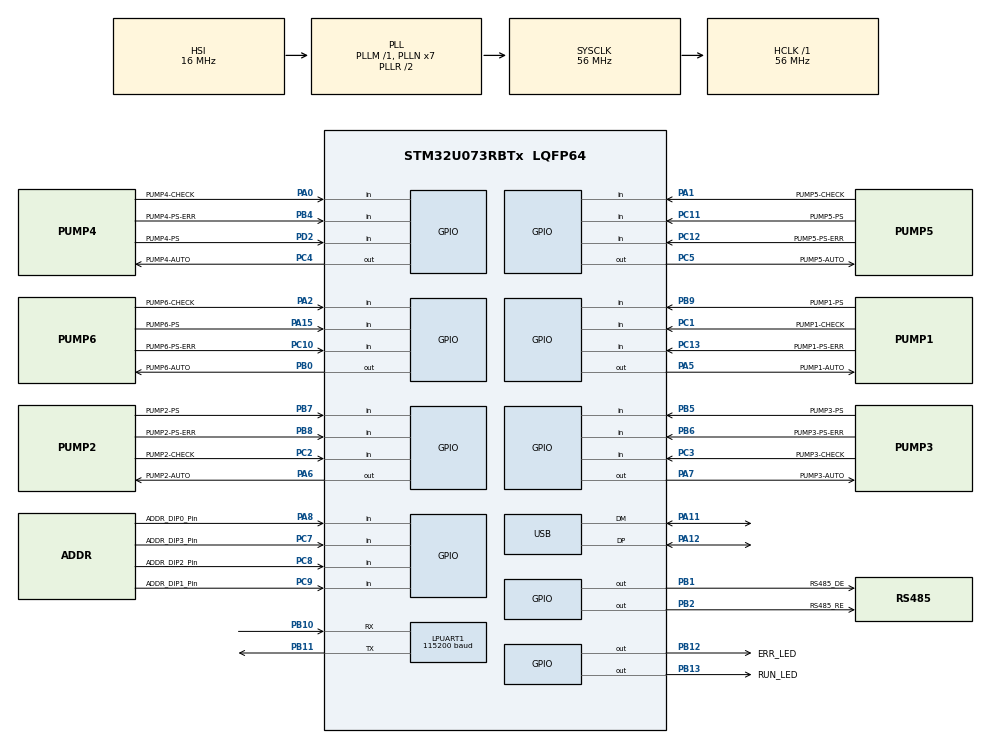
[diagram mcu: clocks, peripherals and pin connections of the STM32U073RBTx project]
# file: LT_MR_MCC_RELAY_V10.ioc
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Dma.LPUART1_TX.0.Direction=DMA_MEMORY_TO_PERIPH
Dma.LPUART1_TX.0.EventEnable=DISABLE
Dma.LPUART1_TX.0.Instance=DMA1_Channel2
Dma.LPUART1_TX.0.MemDataAlignment=DMA_MDATAALIGN_BYTE
Dma.LPUART1_TX.0.MemInc=DMA_MINC_ENABLE
Dma.LPUART1_TX.0.Mode=DMA_NORMAL
Dma.LPUART1_TX.0.PeriphDataAlignment=DMA_PDATAALIGN_BYTE
Dma.LPUART1_TX.0.PeriphInc=DMA_PINC_DISABLE
Dma.LPUART1_TX.0.Polarity=HAL_DMAMUX_REQ_GEN_RISING
Dma.LPUART1_TX.0.Priority=DMA_PRIORITY_LOW
Dma.LPUART1_TX.0.RequestNumber=1
Dma.LPUART1_TX.0.SignalID=NONE
Dma.LPUART1_TX.0.SyncEnable=DISABLE
Dma.LPUART1_TX.0.SyncPolarity=HAL_DMAMUX_SYNC_NO_EVENT
Dma.LPUART1_TX.0.SyncRequestNumber=1
Dma.LPUART1_TX.0.SyncSignalID=NONE
Dma.Request0=LPUART1_TX
IWDG.Prescaler=IWDG_PRESCALER_16
LPUART1.BaudRate=115200
Mcu.Family=STM32U0
Mcu.Name=STM32U073RBTx
Mcu.Package=LQFP64
NVIC.DMA1_Channel2_3_IRQn=true\:0\:0\:false\:false\:true\:false\:true\:true
NVIC.PriorityGroup=NVIC_PRIORITYGROUP_2
NVIC.TIM1_CC_IRQn=true\:0\:0\:false\:false\:true\:true\:true\:true
NVIC.TIM2_IRQn=true\:0\:0\:false\:false\:true\:true\:true\:true
NVIC.TIM3_IRQn=true\:0\:0\:false\:false\:true\:true\:true\:true
NVIC.USART3_LPUART1_IRQn=true\:0\:0\:false\:false\:true\:true\:true\:true
PA0.GPIO_Label=PUMP4-CHECK
PA0.Signal=GPIO_Input
PA1.GPIO_Label=PUMP5-CHECK
PA1.Signal=GPIO_Input
PA11\ [PA9].Mode=Device
PA11\ [PA9].Signal=USB_DM
PA12\ [PA10].Mode=Device
PA12\ [PA10].Signal=USB_DP
PA13\ (SWDIO).Mode=Serial_Wire
PA13\ (SWDIO).Signal=DEBUG_JTMS-SWDIO
PA14\ (SWCLK).Mode=Serial_Wire
PA14\ (SWCLK).Signal=DEBUG_JTCK-SWCLK
PA15.GPIO_Label=PUMP6-PS
PA15.GPIO_PuPd=GPIO_PULLUP
PA15.Signal=GPIO_Input
PA2.GPIO_Label=PUMP6-CHECK
PA2.Signal=GPIO_Input
PA5.GPIO_Label=PUMP1-AUTO
PA5.Signal=GPIO_Output
PA6.GPIO_Label=PUMP2-AUTO
PA6.Signal=GPIO_Output
PA7.GPIO_Label=PUMP3-AUTO
PA7.Signal=GPIO_Output
PA8.GPIO_Label=ADDR_DIP0_Pin
PA8.Signal=GPIO_Input
PB0.GPIO_Label=PUMP6-AUTO
PB0.Signal=GPIO_Output
PB1.GPIO_Label=RS485_DE
PB1.Signal=GPIO_Output
PB10.Mode=Asynchronous
PB10.Signal=LPUART1_RX
PB11.Mode=Asynchronous
PB11.Signal=LPUART1_TX
PB12.GPIO_Label=ERR_LED
PB12.Signal=GPIO_Output
PB13.GPIO_Label=RUN_LED
PB13.Signal=GPIO_Output
PB2.GPIO_Label=RS485_RE
PB2.Signal=GPIO_Output
PB3.Signal=DEBUG_JTDO-SWO
PB4.GPIO_Label=PUMP4-PS-ERR
PB4.GPIO_PuPd=GPIO_PULLUP
PB4.Signal=GPIO_Input
PB5.GPIO_Label=PUMP3-PS
PB5.GPIO_PuPd=GPIO_PULLUP
PB5.Signal=GPIO_Input
PB6.GPIO_Label=PUMP3-PS-ERR
PB6.GPIO_PuPd=GPIO_PULLUP
PB6.Signal=GPIO_Input
PB7.GPIO_Label=PUMP2-PS
PB7.GPIO_PuPd=GPIO_PULLUP
PB7.Signal=GPIO_Input
PB8.GPIO_Label=PUMP2-PS-ERR
PB8.GPIO_PuPd=GPIO_PULLUP
PB8.Signal=GPIO_Input
PB9.GPIO_Label=PUMP1-PS
PB9.GPIO_PuPd=GPIO_PULLUP
PB9.Signal=GPIO_Input
PC1.GPIO_Label=PUMP1-CHECK
PC1.Signal=GPIO_Input
PC10.GPIO_Label=PUMP6-PS-ERR
PC10.GPIO_PuPd=GPIO_PULLUP
PC10.Signal=GPIO_Input
PC11.GPIO_Label=PUMP5-PS
PC11.GPIO_PuPd=GPIO_PULLUP
PC11.Signal=GPIO_Input
PC12.GPIO_Label=PUMP5-PS-ERR
PC12.GPIO_PuPd=GPIO_PULLUP
PC12.Signal=GPIO_Input
PC13.GPIO_Label=PUMP1-PS-ERR
PC13.GPIO_PuPd=GPIO_PULLUP
PC13.Signal=GPIO_Input
PC2.GPIO_Label=PUMP2-CHECK
PC2.Signal=GPIO_Input
PC3.GPIO_Label=PUMP3-CHECK
PC3.Signal=GPIO_Input
PC4.GPIO_Label=PUMP4-AUTO
PC4.Signal=GPIO_Output
PC5.GPIO_Label=PUMP5-AUTO
PC5.Signal=GPIO_Output
PC7.GPIO_Label=ADDR_DIP3_Pin
PC7.Signal=GPIO_Input
PC8.GPIO_Label=ADDR_DIP2_Pin
PC8.Signal=GPIO_Input
PC9.GPIO_Label=ADDR_DIP1_Pin
PC9.Signal=GPIO_Input
PD2.GPIO_Label=PUMP4-PS
PD2.GPIO_PuPd=GPIO_PULLUP
PD2.Signal=GPIO_Input
ProjectManager.HeapSize=0x200
ProjectManager.StackSize=0x400
ProjectManager.TargetToolchain=STM32CubeIDE
RCC.ADCFreq_Value=56000000
RCC.AHBFreq_Value=56000000
RCC.CortexFreq_Value=56000000
RCC.HCLKFreq_Value=56000000
RCC.HSE_VALUE=4000000
RCC.HSI48_VALUE=48000000
RCC.HSI_VALUE=16000000
RCC.LSE_VALUE=32768
RCC.MSI_VALUE=4000000
RCC.PLLN=7
RCC.SYSCLKFreq_VALUE=56000000
RCC.SYSCLKSource=RCC_SYSCLKSOURCE_PLLCLK
RCC.USBCLockSelection=RCC_USBCLKSOURCE_HSI48
RCC.USBFreq_Value=48000000
RCC.VCOOutputFreq_Value=112000000
TIM1.Channel-Output\ Compare1\ No\ Output=TIM_CHANNEL_1
TIM1.Period=9999
TIM1.Prescaler=5599
TIM2.Channel-Output\ Compare1\ No\ Output=TIM_CHANNEL_1
TIM2.Period=999
TIM2.Prescaler=5599
TIM3.Channel-Output\ Compare1\ No\ Output=TIM_CHANNEL_1
TIM3.Period=999
TIM3.Prescaler=5599
USB.VirtualMode=Device_Only
VP_IWDG_VS_IWDG.Mode=IWDG_Activate
VP_PWR_VS_SECSignals.Mode=Security/Privilege
VP_TIM1_VS_ClockSourceINT.Mode=Internal
VP_TIM1_VS_no_output1.Mode=Output Compare1 No Output
VP_TIM2_VS_ClockSourceINT.Mode=Internal
VP_TIM2_VS_no_output1.Mode=Output Compare1 No Output
VP_TIM3_VS_ClockSourceINT.Mode=Internal
VP_TIM3_VS_no_output1.Mode=Output Compare1 No Output
board=custom

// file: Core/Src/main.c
/* USER CODE BEGIN Header */
/**
  ******************************************************************************
  * @file           : main.c
  * @brief          : Main program body
  ******************************************************************************
  * @attention
  *
  * Copyright (c) 2025 STMicroelectronics.
  * All rights reserved.
  *
  * This software is licensed under terms that can be found in the LICENSE file
  * in the root directory of this software component.
  * If no LICENSE file comes with this software, it is provided AS-IS.
  *
  ******************************************************************************
  */
/* USER CODE END Header */
#include "main.h"

/* USER CODE BEGIN Includes */
#include "Compile_Data.h"
/* USER CODE END Includes */

IWDG_HandleTypeDef hiwdg;

UART_HandleTypeDef hlpuart1;
DMA_HandleTypeDef hdma_lpuart1_tx;

TIM_HandleTypeDef htim1;
TIM_HandleTypeDef htim2;
TIM_HandleTypeDef htim3;

PCD_HandleTypeDef hpcd_USB_DRD_FS;

/* USER CODE BEGIN PV */

uint8_t MCC_Address_tmp[4] ;
uint8_t MCC_R_Address ;

uint8_t SUB_UART_TX_buf[SUB_UART_buf_len] ;
uint8_t SUB_UART_RX_buf[SUB_UART_buf_len];
uint8_t SUB_UART_Tx_buf_tmp[SUB_UART_buf_len];
uint8_t SUB_UART_RX_buf_tmp[SUB_UART_buf_len];
uint8_t SUB_UART_State ;					// Define reception start state
int SUB_UART_buf_count;					// Save the length of received data after starting reception
int SUB_UART_buf_count_tmp;				// Variable to store the length of the received data before initializing it when reception is completed
uint8_t SUB_UART_Receive_complete;		// Variable indicating that reception has been completed
int SUB_UART_buf_count_Save;

uint8_t RY_Status_Avr[8][RY_Status_Avr_Num];
uint8_t RY_Status_Avr_Val[8];

uint8_t RY_Status[8] ;
uint8_t Pump_ps_Status[8] ;
uint8_t Pump_ck_Status[8] ;
uint8_t Pump_err_Status[8] ;

#define Save_Num	10

uint8_t Pump_ps_Load_Num;
uint8_t Pump_ck_Load_Num;
uint8_t Pump_err_Load_Num;

uint8_t Pump_ps_Status_tmp[8][Save_Num] ;
uint8_t Pump_ck_Status_tmp[8][Save_Num];
uint8_t Pump_err_Status_tmp[8][Save_Num] ;

#define Version_SW		0
#define Version_MCC		1
#define Version_MCC_R	2
#define Version_TB		3
#define Version_DO		4
#define Version_EBC		5
uint8_t Version_Info[6][14];

/* USER CODE END PV */

void SystemClock_Config(void);
static void MX_GPIO_Init(void);
static void MX_DMA_Init(void);
static void MX_TIM2_Init(void);
static void MX_TIM3_Init(void);
static void MX_LPUART1_UART_Init(void);
static void MX_USB_PCD_Init(void);
static void MX_TIM1_Init(void);
static void MX_IWDG_Init(void);

/* USER CODE BEGIN 0 */

///////////////Start timer interrupt operation function///////////////////

void HAL_TIM_OC_DelayElapsedCallback(TIM_HandleTypeDef *htim)
{
  if(htim->Instance == TIM1)
  {
    HAL_GPIO_TogglePin(RUN_LED_GPIO_Port, RUN_LED_Pin);

    HAL_IWDG_Refresh(&hiwdg);

  }
  else if(htim->Instance == TIM2)
    {

    }
  else if(htim->Instance == TIM3)
  {

  }

}
////////////////Timer interrupt operation function ends ///////////////////
/* USER CODE END 0 */

int main(void)
{

  /* MCU Configuration--------------------------------------------------------*/

  /* Reset of all peripherals, Initializes the Flash interface and the Systick. */
  HAL_Init();

  /* Configure the system clock */
  SystemClock_Config();

  /* Initialize all configured peripherals */
  MX_GPIO_Init();
  MX_DMA_Init();
  MX_TIM2_Init();
  MX_TIM3_Init();
  MX_LPUART1_UART_Init();
  MX_USB_PCD_Init();
  MX_TIM1_Init();
  MX_IWDG_Init();
  /* USER CODE BEGIN 2 */

  // Timer1: 1 second cycle
  // Timer15: 0.1 second cycle
  // Timer16: 0.1 second cycle
  HAL_TIM_OC_Start_IT(&htim1,TIM_CHANNEL_1);
  HAL_TIM_OC_Start_IT(&htim2,TIM_CHANNEL_1);
  HAL_TIM_OC_Start_IT(&htim3,TIM_CHANNEL_1);

  LED_Control(ERR_LED_GPIO_Port, ERR_LED_Pin , LED_Off);

  Compile_Date();

  Read_Address();

  MCC_R_Address = 1;
  /* huart1 RX Interrupt  Enable */
  /* Process Unlocked */
  __HAL_UNLOCK(&hlpuart1);
  /* Enable the UART Parity Error Interrupt */
  __HAL_UART_ENABLE_IT(&hlpuart1, UART_IT_PE);
  /* Enable the UART Error Interrupt: (Frame error, noise error, overrun error) */
  __HAL_UART_ENABLE_IT(&hlpuart1, UART_IT_ERR);
  /* Enable the UART Data Register not empty Interrupt */
  __HAL_UART_ENABLE_IT(&hlpuart1, UART_IT_RXNE);

  /*
  PUMP1_ON();
  HAL_Delay(200);
  PUMP2_ON();
  HAL_Delay(200);
  PUMP3_ON();
  HAL_Delay(200);
  PUMP4_ON();
  HAL_Delay(200);
  PUMP5_ON();
  HAL_Delay(200);
  PUMP6_ON();
  HAL_Delay(200);

  HAL_Delay(1000);
  PUMP1_OFF();
  HAL_Delay(200);
  PUMP2_OFF();
  HAL_Delay(200);
  PUMP3_OFF();
  HAL_Delay(200);
  PUMP4_OFF();
  HAL_Delay(200);
  PUMP5_OFF();
  HAL_Delay(200);
  PUMP6_OFF();
  HAL_Delay(200);
*/

	for(int i=0;i<8;i++){
		RY_Status[i] = 0;
		Pump_ps_Status[i] = 0;
		Pump_ck_Status[i] = 0;
		Pump_err_Status[i] = 0;
	}
  /* USER CODE END 2 */

  /* Infinite loop */
  while (1)
  {

    /* USER CODE BEGIN 3 */

	/* Enable the UART Error Interrupt: (Frame error, noise error, overrun error) */
	__HAL_UART_ENABLE_IT(&hlpuart1, UART_IT_ERR);
	/* Enable the UART Data Register not empty Interrupt */
	__HAL_UART_ENABLE_IT(&hlpuart1, UART_IT_RXNE);

	Set_Relay_Avr();
	Read_Pump_Ps();
	Read_Pump_Ck();
	Read_Pump_Err();

	if(SUB_UART_Receive_complete == 1){
	  SW_Com();
	}
	HAL_Delay(1);

  }
  /* USER CODE END 3 */
}

void SystemClock_Config(void)
{
  RCC_OscInitTypeDef RCC_OscInitStruct = {0};
  RCC_ClkInitTypeDef RCC_ClkInitStruct = {0};

  /** Configure the main internal regulator output voltage
  */
  HAL_PWREx_ControlVoltageScaling(PWR_REGULATOR_VOLTAGE_SCALE1);

  /** Initializes the RCC Oscillators according to the specified parameters
  * in the RCC_OscInitTypeDef structure.
  */
  RCC_OscInitStruct.OscillatorType = RCC_OSCILLATORTYPE_HSI|RCC_OSCILLATORTYPE_HSI48;
  RCC_OscInitStruct.HSIState = RCC_HSI_ON;
  RCC_OscInitStruct.HSICalibrationValue = RCC_HSICALIBRATION_DEFAULT;
  RCC_OscInitStruct.HSI48State = RCC_HSI48_ON;
  RCC_OscInitStruct.PLL.PLLState = RCC_PLL_ON;
  RCC_OscInitStruct.PLL.PLLSource = RCC_PLLSOURCE_HSI;
  RCC_OscInitStruct.PLL.PLLM = RCC_PLLM_DIV1;
  RCC_OscInitStruct.PLL.PLLN = 7;
  RCC_OscInitStruct.PLL.PLLP = RCC_PLLP_DIV2;
  RCC_OscInitStruct.PLL.PLLQ = RCC_PLLQ_DIV2;
  RCC_OscInitStruct.PLL.PLLR = RCC_PLLR_DIV2;
  if (HAL_RCC_OscConfig(&RCC_OscInitStruct) != HAL_OK)
  {
    Error_Handler();
  }

  /** Initializes the CPU, AHB and APB buses clocks
  */
  RCC_ClkInitStruct.ClockType = RCC_CLOCKTYPE_HCLK|RCC_CLOCKTYPE_SYSCLK
                              |RCC_CLOCKTYPE_PCLK1;
  RCC_ClkInitStruct.SYSCLKSource = RCC_SYSCLKSOURCE_PLLCLK;
  RCC_ClkInitStruct.AHBCLKDivider = RCC_SYSCLK_DIV1;
  RCC_ClkInitStruct.APB1CLKDivider = RCC_HCLK_DIV1;

  if (HAL_RCC_ClockConfig(&RCC_ClkInitStruct, FLASH_LATENCY_2) != HAL_OK)
  {
    Error_Handler();
  }
}

static void MX_IWDG_Init(void)
{

  hiwdg.Instance = IWDG;
  hiwdg.Init.Prescaler = IWDG_PRESCALER_16;
  hiwdg.Init.Window = 4095;
  hiwdg.Init.Reload = 4095;
  hiwdg.Init.EWI = 0;
  if (HAL_IWDG_Init(&hiwdg) != HAL_OK)
  {
    Error_Handler();
  }

}

static void MX_LPUART1_UART_Init(void)
{

  hlpuart1.Instance = LPUART1;
  hlpuart1.Init.BaudRate = 115200;
  hlpuart1.Init.WordLength = UART_WORDLENGTH_8B;
  hlpuart1.Init.StopBits = UART_STOPBITS_1;
  hlpuart1.Init.Parity = UART_PARITY_NONE;
  hlpuart1.Init.Mode = UART_MODE_TX_RX;
  hlpuart1.Init.HwFlowCtl = UART_HWCONTROL_NONE;
  hlpuart1.Init.OneBitSampling = UART_ONE_BIT_SAMPLE_DISABLE;
  hlpuart1.AdvancedInit.AdvFeatureInit = UART_ADVFEATURE_NO_INIT;
  hlpuart1.FifoMode = UART_FIFOMODE_DISABLE;
  if (HAL_UART_Init(&hlpuart1) != HAL_OK)
  {
    Error_Handler();
  }
  if (HAL_UARTEx_SetTxFifoThreshold(&hlpuart1, UART_TXFIFO_THRESHOLD_1_8) != HAL_OK)
  {
    Error_Handler();
  }
  if (HAL_UARTEx_SetRxFifoThreshold(&hlpuart1, UART_RXFIFO_THRESHOLD_1_8) != HAL_OK)
  {
    Error_Handler();
  }
  if (HAL_UARTEx_DisableFifoMode(&hlpuart1) != HAL_OK)
  {
    Error_Handler();
  }

}

static void MX_TIM1_Init(void)
{

  TIM_ClockConfigTypeDef sClockSourceConfig = {0};
  TIM_MasterConfigTypeDef sMasterConfig = {0};
  TIM_OC_InitTypeDef sConfigOC = {0};
  TIM_BreakDeadTimeConfigTypeDef sBreakDeadTimeConfig = {0};

  htim1.Instance = TIM1;
  htim1.Init.Prescaler = 5599;
  htim1.Init.CounterMode = TIM_COUNTERMODE_UP;
  htim1.Init.Period = 9999;
  htim1.Init.ClockDivision = TIM_CLOCKDIVISION_DIV1;
  htim1.Init.RepetitionCounter = 0;
  htim1.Init.AutoReloadPreload = TIM_AUTORELOAD_PRELOAD_DISABLE;
  if (HAL_TIM_Base_Init(&htim1) != HAL_OK)
  {
    Error_Handler();
  }
  sClockSourceConfig.ClockSource = TIM_CLOCKSOURCE_INTERNAL;
  if (HAL_TIM_ConfigClockSource(&htim1, &sClockSourceConfig) != HAL_OK)
  {
    Error_Handler();
  }
  if (HAL_TIM_OC_Init(&htim1) != HAL_OK)
  {
    Error_Handler();
  }
  sMasterConfig.MasterOutputTrigger = TIM_TRGO_RESET;
  sMasterConfig.MasterOutputTrigger2 = TIM_TRGO2_RESET;
  sMasterConfig.MasterSlaveMode = TIM_MASTERSLAVEMODE_DISABLE;
  if (HAL_TIMEx_MasterConfigSynchronization(&htim1, &sMasterConfig) != HAL_OK)
  {
    Error_Handler();
  }
  sConfigOC.OCMode = TIM_OCMODE_TIMING;
  sConfigOC.Pulse = 0;
  sConfigOC.OCPolarity = TIM_OCPOLARITY_HIGH;
  sConfigOC.OCNPolarity = TIM_OCNPOLARITY_HIGH;
  sConfigOC.OCFastMode = TIM_OCFAST_DISABLE;
  sConfigOC.OCIdleState = TIM_OCIDLESTATE_RESET;
  sConfigOC.OCNIdleState = TIM_OCNIDLESTATE_RESET;
  if (HAL_TIM_OC_ConfigChannel(&htim1, &sConfigOC, TIM_CHANNEL_1) != HAL_OK)
  {
    Error_Handler();
  }
  sBreakDeadTimeConfig.OffStateRunMode = TIM_OSSR_DISABLE;
  sBreakDeadTimeConfig.OffStateIDLEMode = TIM_OSSI_DISABLE;
  sBreakDeadTimeConfig.LockLevel = TIM_LOCKLEVEL_OFF;
  sBreakDeadTimeConfig.DeadTime = 0;
  sBreakDeadTimeConfig.BreakState = TIM_BREAK_DISABLE;
  sBreakDeadTimeConfig.BreakPolarity = TIM_BREAKPOLARITY_HIGH;
  sBreakDeadTimeConfig.BreakFilter = 0;
  sBreakDeadTimeConfig.BreakAFMode = TIM_BREAK_AFMODE_INPUT;
  sBreakDeadTimeConfig.Break2State = TIM_BREAK2_DISABLE;
  sBreakDeadTimeConfig.Break2Polarity = TIM_BREAK2POLARITY_HIGH;
  sBreakDeadTimeConfig.Break2Filter = 0;
  sBreakDeadTimeConfig.Break2AFMode = TIM_BREAK_AFMODE_INPUT;
  sBreakDeadTimeConfig.AutomaticOutput = TIM_AUTOMATICOUTPUT_DISABLE;
  if (HAL_TIMEx_ConfigBreakDeadTime(&htim1, &sBreakDeadTimeConfig) != HAL_OK)
  {
    Error_Handler();
  }

}

static void MX_TIM2_Init(void)
{

  TIM_ClockConfigTypeDef sClockSourceConfig = {0};
  TIM_MasterConfigTypeDef sMasterConfig = {0};
  TIM_OC_InitTypeDef sConfigOC = {0};

  htim2.Instance = TIM2;
  htim2.Init.Prescaler = 5599;
  htim2.Init.CounterMode = TIM_COUNTERMODE_UP;
  htim2.Init.Period = 999;
  htim2.Init.ClockDivision = TIM_CLOCKDIVISION_DIV1;
  htim2.Init.AutoReloadPreload = TIM_AUTORELOAD_PRELOAD_DISABLE;
  if (HAL_TIM_Base_Init(&htim2) != HAL_OK)
  {
    Error_Handler();
  }
  sClockSourceConfig.ClockSource = TIM_CLOCKSOURCE_INTERNAL;
  if (HAL_TIM_ConfigClockSource(&htim2, &sClockSourceConfig) != HAL_OK)
  {
    Error_Handler();
  }
  if (HAL_TIM_OC_Init(&htim2) != HAL_OK)
  {
    Error_Handler();
  }
  sMasterConfig.MasterOutputTrigger = TIM_TRGO_RESET;
  sMasterConfig.MasterSlaveMode = TIM_MASTERSLAVEMODE_DISABLE;
  if (HAL_TIMEx_MasterConfigSynchronization(&htim2, &sMasterConfig) != HAL_OK)
  {
    Error_Handler();
  }
  sConfigOC.OCMode = TIM_OCMODE_TIMING;
  sConfigOC.Pulse = 0;
  sConfigOC.OCPolarity = TIM_OCPOLARITY_HIGH;
  sConfigOC.OCFastMode = TIM_OCFAST_DISABLE;
  if (HAL_TIM_OC_ConfigChannel(&htim2, &sConfigOC, TIM_CHANNEL_1) != HAL_OK)
  {
    Error_Handler();
  }

}

static void MX_TIM3_Init(void)
{

  TIM_ClockConfigTypeDef sClockSourceConfig = {0};
  TIM_MasterConfigTypeDef sMasterConfig = {0};
  TIM_OC_InitTypeDef sConfigOC = {0};

  htim3.Instance = TIM3;
  htim3.Init.Prescaler = 5599;
  htim3.Init.CounterMode = TIM_COUNTERMODE_UP;
  htim3.Init.Period = 999;
  htim3.Init.ClockDivision = TIM_CLOCKDIVISION_DIV1;
  htim3.Init.AutoReloadPreload = TIM_AUTORELOAD_PRELOAD_DISABLE;
  if (HAL_TIM_Base_Init(&htim3) != HAL_OK)
  {
    Error_Handler();
  }
  sClockSourceConfig.ClockSource = TIM_CLOCKSOURCE_INTERNAL;
  if (HAL_TIM_ConfigClockSource(&htim3, &sClockSourceConfig) != HAL_OK)
  {
    Error_Handler();
  }
  if (HAL_TIM_OC_Init(&htim3) != HAL_OK)
  {
    Error_Handler();
  }
  sMasterConfig.MasterOutputTrigger = TIM_TRGO_RESET;
  sMasterConfig.MasterSlaveMode = TIM_MASTERSLAVEMODE_DISABLE;
  if (HAL_TIMEx_MasterConfigSynchronization(&htim3, &sMasterConfig) != HAL_OK)
  {
    Error_Handler();
  }
  sConfigOC.OCMode = TIM_OCMODE_TIMING;
  sConfigOC.Pulse = 0;
  sConfigOC.OCPolarity = TIM_OCPOLARITY_HIGH;
  sConfigOC.OCFastMode = TIM_OCFAST_DISABLE;
  if (HAL_TIM_OC_ConfigChannel(&htim3, &sConfigOC, TIM_CHANNEL_1) != HAL_OK)
  {
    Error_Handler();
  }

}

static void MX_USB_PCD_Init(void)
{

  hpcd_USB_DRD_FS.Instance = USB_DRD_FS;
  hpcd_USB_DRD_FS.Init.dev_endpoints = 8;
  hpcd_USB_DRD_FS.Init.speed = USBD_FS_SPEED;
  hpcd_USB_DRD_FS.Init.phy_itface = PCD_PHY_EMBEDDED;
  hpcd_USB_DRD_FS.Init.Sof_enable = DISABLE;
  hpcd_USB_DRD_FS.Init.low_power_enable = DISABLE;
  hpcd_USB_DRD_FS.Init.lpm_enable = DISABLE;
  hpcd_USB_DRD_FS.Init.battery_charging_enable = DISABLE;
  if (HAL_PCD_Init(&hpcd_USB_DRD_FS) != HAL_OK)
  {
    Error_Handler();
  }

}

static void MX_DMA_Init(void)
{

  /* DMA controller clock enable */
  __HAL_RCC_DMA1_CLK_ENABLE();

  /* DMA interrupt init */
  /* DMA1_Channel2_3_IRQn interrupt configuration */
  HAL_NVIC_SetPriority(DMA1_Channel2_3_IRQn, 0, 0);
  HAL_NVIC_EnableIRQ(DMA1_Channel2_3_IRQn);

}

static void MX_GPIO_Init(void)
{
  GPIO_InitTypeDef GPIO_InitStruct = {0};

  /* GPIO Ports Clock Enable */
  __HAL_RCC_GPIOC_CLK_ENABLE();
  __HAL_RCC_GPIOA_CLK_ENABLE();
  __HAL_RCC_GPIOB_CLK_ENABLE();
  __HAL_RCC_GPIOD_CLK_ENABLE();

  /*Configure GPIO pin Output Level */
  HAL_GPIO_WritePin(GPIOA, PUMP1_AUTO_Pin|PUMP2_AUTO_Pin|PUMP3_AUTO_Pin, GPIO_PIN_RESET);

  /*Configure GPIO pin Output Level */
  HAL_GPIO_WritePin(GPIOC, PUMP4_AUTO_Pin|PUMP5_AUTO_Pin, GPIO_PIN_RESET);

  /*Configure GPIO pin Output Level */
  HAL_GPIO_WritePin(GPIOB, PUMP6_AUTO_Pin|RS485_DE_Pin|RS485_RE_Pin|ERR_LED_Pin
                          |RUN_LED_Pin, GPIO_PIN_RESET);

  /*Configure GPIO pins : PUMP1_PS_ERR_Pin PUMP6_PS_ERR_Pin PUMP5_PS_Pin PUMP5_PS_ERR_Pin */
  GPIO_InitStruct.Pin = PUMP1_PS_ERR_Pin|PUMP6_PS_ERR_Pin|PUMP5_PS_Pin|PUMP5_PS_ERR_Pin;
  GPIO_InitStruct.Mode = GPIO_MODE_INPUT;
  GPIO_InitStruct.Pull = GPIO_PULLUP;
  HAL_GPIO_Init(GPIOC, &GPIO_InitStruct);

  /*Configure GPIO pins : PUMP1_CHECK_Pin PUMP2_CHECK_Pin PUMP3_CHECK_Pin ADDR_DIP3_Pin_Pin
                           ADDR_DIP2_Pin_Pin ADDR_DIP1_Pin_Pin */
  GPIO_InitStruct.Pin = PUMP1_CHECK_Pin|PUMP2_CHECK_Pin|PUMP3_CHECK_Pin|ADDR_DIP3_Pin_Pin
                          |ADDR_DIP2_Pin_Pin|ADDR_DIP1_Pin_Pin;
  GPIO_InitStruct.Mode = GPIO_MODE_INPUT;
  GPIO_InitStruct.Pull = GPIO_NOPULL;
  HAL_GPIO_Init(GPIOC, &GPIO_InitStruct);

  /*Configure GPIO pins : PUMP4_CHECK_Pin PUMP5_CHECK_Pin PUMP6_CHECK_Pin ADDR_DIP0_Pin_Pin */
  GPIO_InitStruct.Pin = PUMP4_CHECK_Pin|PUMP5_CHECK_Pin|PUMP6_CHECK_Pin|ADDR_DIP0_Pin_Pin;
  GPIO_InitStruct.Mode = GPIO_MODE_INPUT;
  GPIO_InitStruct.Pull = GPIO_NOPULL;
  HAL_GPIO_Init(GPIOA, &GPIO_InitStruct);

  /*Configure GPIO pins : PUMP1_AUTO_Pin PUMP2_AUTO_Pin PUMP3_AUTO_Pin */
  GPIO_InitStruct.Pin = PUMP1_AUTO_Pin|PUMP2_AUTO_Pin|PUMP3_AUTO_Pin;
  GPIO_InitStruct.Mode = GPIO_MODE_OUTPUT_PP;
  GPIO_InitStruct.Pull = GPIO_NOPULL;
  GPIO_InitStruct.Speed = GPIO_SPEED_FREQ_LOW;
  HAL_GPIO_Init(GPIOA, &GPIO_InitStruct);

  /*Configure GPIO pins : PUMP4_AUTO_Pin PUMP5_AUTO_Pin */
  GPIO_InitStruct.Pin = PUMP4_AUTO_Pin|PUMP5_AUTO_Pin;
  GPIO_InitStruct.Mode = GPIO_MODE_OUTPUT_PP;
  GPIO_InitStruct.Pull = GPIO_NOPULL;
  GPIO_InitStruct.Speed = GPIO_SPEED_FREQ_LOW;
  HAL_GPIO_Init(GPIOC, &GPIO_InitStruct);

  /*Configure GPIO pins : PUMP6_AUTO_Pin RS485_DE_Pin RS485_RE_Pin ERR_LED_Pin
                           RUN_LED_Pin */
  GPIO_InitStruct.Pin = PUMP6_AUTO_Pin|RS485_DE_Pin|RS485_RE_Pin|ERR_LED_Pin
                          |RUN_LED_Pin;
  GPIO_InitStruct.Mode = GPIO_MODE_OUTPUT_PP;
  GPIO_InitStruct.Pull = GPIO_NOPULL;
  GPIO_InitStruct.Speed = GPIO_SPEED_FREQ_LOW;
  HAL_GPIO_Init(GPIOB, &GPIO_InitStruct);

  /*Configure GPIO pin : PUMP6_PS_Pin */
  GPIO_InitStruct.Pin = PUMP6_PS_Pin;
  GPIO_InitStruct.Mode = GPIO_MODE_INPUT;
  GPIO_InitStruct.Pull = GPIO_PULLUP;
  HAL_GPIO_Init(PUMP6_PS_GPIO_Port, &GPIO_InitStruct);

  /*Configure GPIO pin : PUMP4_PS_Pin */
  GPIO_InitStruct.Pin = PUMP4_PS_Pin;
  GPIO_InitStruct.Mode = GPIO_MODE_INPUT;
  GPIO_InitStruct.Pull = GPIO_PULLUP;
  HAL_GPIO_Init(PUMP4_PS_GPIO_Port, &GPIO_InitStruct);

  /*Configure GPIO pins : PUMP4_PS_ERR_Pin PUMP3_PS_Pin PUMP3_PS_ERR_Pin PUMP2_PS_Pin
                           PUMP2_PS_ERR_Pin PUMP1_PS_Pin */
  GPIO_InitStruct.Pin = PUMP4_PS_ERR_Pin|PUMP3_PS_Pin|PUMP3_PS_ERR_Pin|PUMP2_PS_Pin
                          |PUMP2_PS_ERR_Pin|PUMP1_PS_Pin;
  GPIO_InitStruct.Mode = GPIO_MODE_INPUT;
  GPIO_InitStruct.Pull = GPIO_PULLUP;
  HAL_GPIO_Init(GPIOB, &GPIO_InitStruct);

}

/* USER CODE BEGIN 4 */

void Read_Address(void){

	  MCC_Address_tmp[3] =  ~(HAL_GPIO_ReadPin(ADDR_DIP0_Pin_GPIO_Port, ADDR_DIP0_Pin_Pin)) & 0x01;
	  MCC_Address_tmp[2] =  ~(HAL_GPIO_ReadPin(ADDR_DIP1_Pin_GPIO_Port, ADDR_DIP1_Pin_Pin)) & 0x01;
	  MCC_Address_tmp[1] =  ~(HAL_GPIO_ReadPin(ADDR_DIP2_Pin_GPIO_Port, ADDR_DIP2_Pin_Pin)) & 0x01;
	  MCC_Address_tmp[0] =  ~(HAL_GPIO_ReadPin(ADDR_DIP3_Pin_GPIO_Port, ADDR_DIP3_Pin_Pin)) & 0x01;

	 // MCC_Address[0] = (MCC_Address_tmp[3] << 3)|(MCC_Address_tmp[2] << 2)|(MCC_Address_tmp[1] << 1)|(MCC_Address_tmp[0] << 0);
	  MCC_R_Address = (MCC_Address_tmp[2] << 2)|(MCC_Address_tmp[1] << 1)|(MCC_Address_tmp[0] << 0);
}

void LED_Control(GPIO_TypeDef *GPIOx, uint16_t GPIO_Pin , uint16_t Staus){

  if(Staus == LED_On){
    HAL_GPIO_WritePin(GPIOx, GPIO_Pin, GPIO_PIN_RESET);
  }
  else if(Staus == LED_Off){
    HAL_GPIO_WritePin(GPIOx, GPIO_Pin, GPIO_PIN_SET);
  }
}

void PUMP1_ON(void){
	HAL_GPIO_WritePin(PUMP1_AUTO_GPIO_Port, PUMP1_AUTO_Pin, GPIO_PIN_SET);
}
void PUMP1_OFF(void){
	HAL_GPIO_WritePin(PUMP1_AUTO_GPIO_Port, PUMP1_AUTO_Pin, GPIO_PIN_RESET);
}
void PUMP2_ON(void){
	HAL_GPIO_WritePin(PUMP2_AUTO_GPIO_Port, PUMP2_AUTO_Pin, GPIO_PIN_SET);
}
void PUMP2_OFF(void){
	HAL_GPIO_WritePin(PUMP2_AUTO_GPIO_Port, PUMP2_AUTO_Pin, GPIO_PIN_RESET);
}
void PUMP3_ON(void){
	HAL_GPIO_WritePin(PUMP3_AUTO_GPIO_Port, PUMP3_AUTO_Pin, GPIO_PIN_SET);
}
void PUMP3_OFF(void){
	HAL_GPIO_WritePin(PUMP3_AUTO_GPIO_Port, PUMP3_AUTO_Pin, GPIO_PIN_RESET);
}
void PUMP4_ON(void){
	HAL_GPIO_WritePin(PUMP4_AUTO_GPIO_Port, PUMP4_AUTO_Pin, GPIO_PIN_SET);
}
void PUMP4_OFF(void){
	HAL_GPIO_WritePin(PUMP4_AUTO_GPIO_Port, PUMP4_AUTO_Pin, GPIO_PIN_RESET);
}
void PUMP5_ON(void){
	HAL_GPIO_WritePin(PUMP5_AUTO_GPIO_Port, PUMP5_AUTO_Pin, GPIO_PIN_SET);
}
void PUMP5_OFF(void){
	HAL_GPIO_WritePin(PUMP5_AUTO_GPIO_Port, PUMP5_AUTO_Pin, GPIO_PIN_RESET);
}
void PUMP6_ON(void){
	HAL_GPIO_WritePin(PUMP6_AUTO_GPIO_Port, PUMP6_AUTO_Pin, GPIO_PIN_SET);
}
void PUMP6_OFF(void){
	HAL_GPIO_WritePin(PUMP6_AUTO_GPIO_Port, PUMP6_AUTO_Pin, GPIO_PIN_RESET);
}

/*
void Read_Pump_Ps(void){

    if(HAL_GPIO_ReadPin(PUMP1_PS_GPIO_Port, PUMP1_PS_Pin) == GPIO_PIN_RESET){
      Pump_ps_Status[0] = 1;
    }
    else{
      Pump_ps_Status[0] = 0;
    }

    if(HAL_GPIO_ReadPin(PUMP2_PS_GPIO_Port, PUMP2_PS_Pin) == GPIO_PIN_RESET){
      Pump_ps_Status[1] = 1;
    }
    else{
      Pump_ps_Status[1] = 0;
    }

    if(HAL_GPIO_ReadPin(PUMP3_PS_GPIO_Port, PUMP3_PS_Pin) == GPIO_PIN_RESET){
      Pump_ps_Status[2] = 1;
    }
    else{
      Pump_ps_Status[2] = 0;
    }

    if(HAL_GPIO_ReadPin(PUMP4_PS_GPIO_Port, PUMP4_PS_Pin) == GPIO_PIN_RESET){
      Pump_ps_Status[3] = 1;
    }
    else{
      Pump_ps_Status[3] = 0;
    }

    if(HAL_GPIO_ReadPin(PUMP5_PS_GPIO_Port, PUMP5_PS_Pin) == GPIO_PIN_RESET){
      Pump_ps_Status[4] = 1;
    }
    else{
      Pump_ps_Status[4] = 0;
    }
    if(HAL_GPIO_ReadPin(PUMP6_PS_GPIO_Port, PUMP6_PS_Pin) == GPIO_PIN_RESET){
      Pump_ps_Status[5] = 1;
    }
    else{
      Pump_ps_Status[5] = 0;
    }

}
*/

void Read_Pump_Ps(void){

	uint8_t Pump_ps_Status_Load[6];
	uint8_t Pump_ps_Status_Avr[6];

    if(HAL_GPIO_ReadPin(PUMP1_PS_GPIO_Port, PUMP1_PS_Pin) == GPIO_PIN_RESET){
      Pump_ps_Status_Load[0] = 1;
    }
    else{
      Pump_ps_Status_Load[0] = 0;
    }

    if(HAL_GPIO_ReadPin(PUMP2_PS_GPIO_Port, PUMP2_PS_Pin) == GPIO_PIN_RESET){
      Pump_ps_Status_Load[1] = 1;
    }
    else{
      Pump_ps_Status_Load[1] = 0;
    }

    if(HAL_GPIO_ReadPin(PUMP3_PS_GPIO_Port, PUMP3_PS_Pin) == GPIO_PIN_RESET){
      Pump_ps_Status_Load[2] = 1;
    }
    else{
      Pump_ps_Status_Load[2] = 0;
    }

    if(HAL_GPIO_ReadPin(PUMP4_PS_GPIO_Port, PUMP4_PS_Pin) == GPIO_PIN_RESET){
      Pump_ps_Status_Load[3] = 1;
    }
    else{
      Pump_ps_Status_Load[3] = 0;
    }

    if(HAL_GPIO_ReadPin(PUMP5_PS_GPIO_Port, PUMP5_PS_Pin) == GPIO_PIN_RESET){
      Pump_ps_Status_Load[4] = 1;
    }
    else{
      Pump_ps_Status_Load[4] = 0;
    }
    if(HAL_GPIO_ReadPin(PUMP6_PS_GPIO_Port, PUMP6_PS_Pin) == GPIO_PIN_RESET){
      Pump_ps_Status_Load[5] = 1;
    }
    else{
      Pump_ps_Status_Load[5] = 0;
    }

    for(int i=0; i< 6; i++){
    	Pump_ps_Status_tmp[i][Pump_ps_Load_Num] = Pump_ps_Status_Load[i];
    	Pump_ps_Status_Avr[i] = 0;
    }

    for(int i=0; i<6 ; i++){
    	for(int j=0; j< Save_Num; j++){
    		Pump_ps_Status_Avr[i] = Pump_ps_Status_Avr[i] + Pump_ps_Status_tmp[i][j];
    	}
    }

    for(int i=0; i< 6; i++){
    	if(Pump_ps_Status_Avr[i] >  (Save_Num / 2)){
    		Pump_ps_Status[i] = 1;
    	}
    	else{
    		Pump_ps_Status[i] = 0;
    	}
    }

    if(Pump_ps_Load_Num ==  Save_Num){
    	Pump_ps_Load_Num = 0;
    }
    else{
    	Pump_ps_Load_Num++;
    }

}

/*
void Read_Pump_Ck(void){

 if(HAL_GPIO_ReadPin(PUMP1_CHECK_GPIO_Port, PUMP1_CHECK_Pin) == GPIO_PIN_RESET){
      Pump_ck_Status[0] = 1;
    }
    else{
      Pump_ck_Status[0] = 0;
    }

    if(HAL_GPIO_ReadPin(PUMP2_CHECK_GPIO_Port, PUMP2_CHECK_Pin) == GPIO_PIN_RESET){
      Pump_ck_Status[1] = 1;
    }
    else{
      Pump_ck_Status[1] = 0;
    }

    if(HAL_GPIO_ReadPin(PUMP3_CHECK_GPIO_Port, PUMP3_CHECK_Pin) == GPIO_PIN_RESET){
      Pump_ck_Status[2] = 1;
    }
    else{
      Pump_ck_Status[2] = 0;
    }

    if(HAL_GPIO_ReadPin(PUMP4_CHECK_GPIO_Port, PUMP4_CHECK_Pin) == GPIO_PIN_RESET){
      Pump_ck_Status[3] = 1;
    }
    else{
      Pump_ck_Status[3] = 0;
    }

    if(HAL_GPIO_ReadPin(PUMP5_CHECK_GPIO_Port, PUMP5_CHECK_Pin) == GPIO_PIN_RESET){
      Pump_ck_Status[4] = 1;
    }
    else{
      Pump_ck_Status[4] = 0;
    }
    if(HAL_GPIO_ReadPin(PUMP6_CHECK_GPIO_Port, PUMP6_CHECK_Pin) == GPIO_PIN_RESET){
      Pump_ck_Status[5] = 1;
    }
    else{
      Pump_ck_Status[5] = 0;
    }
}
*/

void Read_Pump_Ck(void){

	uint8_t Pump_ck_Status_Load[6];
	uint8_t Pump_ck_Status_Avr[6];

    if(HAL_GPIO_ReadPin(PUMP1_CHECK_GPIO_Port, PUMP1_CHECK_Pin) == GPIO_PIN_RESET){
      Pump_ck_Status_Load[0] = 1;
    }
    else{
      Pump_ck_Status_Load[0] = 0;
    }

    if(HAL_GPIO_ReadPin(PUMP2_CHECK_GPIO_Port, PUMP2_CHECK_Pin) == GPIO_PIN_RESET){
      Pump_ck_Status_Load[1] = 1;
    }
    else{
      Pump_ck_Status_Load[1] = 0;
    }

    if(HAL_GPIO_ReadPin(PUMP3_CHECK_GPIO_Port, PUMP3_CHECK_Pin) == GPIO_PIN_RESET){
      Pump_ck_Status_Load[2] = 1;
    }
    else{
      Pump_ck_Status_Load[2] = 0;
    }

    if(HAL_GPIO_ReadPin(PUMP4_CHECK_GPIO_Port, PUMP4_CHECK_Pin) == GPIO_PIN_RESET){
      Pump_ck_Status_Load[3] = 1;
    }
    else{
      Pump_ck_Status_Load[3] = 0;
    }

    if(HAL_GPIO_ReadPin(PUMP5_CHECK_GPIO_Port, PUMP5_CHECK_Pin) == GPIO_PIN_RESET){
      Pump_ck_Status_Load[4] = 1;
    }
    else{
      Pump_ck_Status_Load[4] = 0;
    }
    if(HAL_GPIO_ReadPin(PUMP6_CHECK_GPIO_Port, PUMP6_CHECK_Pin) == GPIO_PIN_RESET){
      Pump_ck_Status_Load[5] = 1;
    }
    else{
      Pump_ck_Status_Load[5] = 0;
    }

    for(int i=0; i< 6; i++){
    	Pump_ck_Status_tmp[i][Pump_ck_Load_Num] = Pump_ck_Status_Load[i];
    	Pump_ck_Status_Avr[i] = 0;
    }

    for(int i=0; i<6 ; i++){
    	for(int j=0; j< Save_Num; j++){
    		Pump_ck_Status_Avr[i] = Pump_ck_Status_Avr[i] + Pump_ck_Status_tmp[i][j];
    	}
    }

    for(int i=0; i< 6; i++){
    	if(Pump_ck_Status_Avr[i] >  (Save_Num / 2)){
    		Pump_ck_Status[i] = 1;
    	}
    	else{
    		Pump_ck_Status[i] = 0;
    	}
    }

    if(Pump_ck_Load_Num ==  Save_Num){
    	Pump_ck_Load_Num = 0;
    }
    else{
    	Pump_ck_Load_Num++;
    }

}

/*
void Read_Pump_Err(void){

    if(HAL_GPIO_ReadPin(PUMP1_PS_ERR_GPIO_Port, PUMP1_PS_ERR_Pin) == GPIO_PIN_RESET){
      Pump_err_Status[0] = 1;
    }
    else{
      Pump_err_Status[0] = 0;
    }

    if(HAL_GPIO_ReadPin(PUMP2_PS_ERR_GPIO_Port, PUMP2_PS_ERR_Pin) == GPIO_PIN_RESET){
      Pump_err_Status[1] = 1;
    }
    else{
      Pump_err_Status[1] = 0;
    }

    if(HAL_GPIO_ReadPin(PUMP3_PS_ERR_GPIO_Port, PUMP3_PS_ERR_Pin) == GPIO_PIN_RESET){
      Pump_err_Status[2] = 1;
    }
    else{
      Pump_err_Status[2] = 0;
    }

    if(HAL_GPIO_ReadPin(PUMP4_PS_ERR_GPIO_Port, PUMP4_PS_ERR_Pin) == GPIO_PIN_RESET){
      Pump_err_Status[3] = 1;
    }
    else{
      Pump_err_Status[3] = 0;
    }

    if(HAL_GPIO_ReadPin(PUMP5_PS_ERR_GPIO_Port, PUMP5_PS_ERR_Pin) == GPIO_PIN_RESET){
      Pump_err_Status[4] = 1;
    }
    else{
      Pump_err_Status[4] = 0;
    }
    if(HAL_GPIO_ReadPin(PUMP6_PS_ERR_GPIO_Port, PUMP6_PS_ERR_Pin) == GPIO_PIN_RESET){
      Pump_err_Status[5] = 1;
    }
    else{
      Pump_err_Status[5] = 0;
    }
}
*/

void Read_Pump_Err(void){

	uint8_t Pump_err_Status_Load[6];
	uint8_t Pump_err_Status_Avr[6];

    if(HAL_GPIO_ReadPin(PUMP1_PS_ERR_GPIO_Port, PUMP1_PS_ERR_Pin) == GPIO_PIN_RESET){
      Pump_err_Status_Load[0] = 1;
    }
    else{
      Pump_err_Status_Load[0] = 0;
    }

    if(HAL_GPIO_ReadPin(PUMP2_PS_ERR_GPIO_Port, PUMP2_PS_ERR_Pin) == GPIO_PIN_RESET){
      Pump_err_Status_Load[1] = 1;
    }
    else{
      Pump_err_Status_Load[1] = 0;
    }

    if(HAL_GPIO_ReadPin(PUMP3_PS_ERR_GPIO_Port, PUMP3_PS_ERR_Pin) == GPIO_PIN_RESET){
      Pump_err_Status_Load[2] = 1;
    }
    else{
      Pump_err_Status_Load[2] = 0;
    }

    if(HAL_GPIO_ReadPin(PUMP4_PS_ERR_GPIO_Port, PUMP4_PS_ERR_Pin) == GPIO_PIN_RESET){
      Pump_err_Status_Load[3] = 1;
    }
    else{
      Pump_err_Status_Load[3] = 0;
    }

    if(HAL_GPIO_ReadPin(PUMP5_PS_ERR_GPIO_Port, PUMP5_PS_ERR_Pin) == GPIO_PIN_RESET){
      Pump_err_Status_Load[4] = 1;
    }
    else{
      Pump_err_Status_Load[4] = 0;
    }
    if(HAL_GPIO_ReadPin(PUMP6_PS_ERR_GPIO_Port, PUMP6_PS_ERR_Pin) == GPIO_PIN_RESET){
      Pump_err_Status_Load[5] = 1;
    }
    else{
      Pump_err_Status_Load[5] = 0;
    }

    for(int i=0; i< 6; i++){
    	Pump_err_Status_tmp[i][Pump_err_Load_Num] = Pump_err_Status_Load[i];
    	Pump_err_Status_Avr[i] = 0;
    }

    for(int i=0; i<6 ; i++){
    	for(int j=0; j< Save_Num; j++){
    		Pump_err_Status_Avr[i] = Pump_err_Status_Avr[i] + Pump_err_Status_tmp[i][j];
    	}
    }

    for(int i=0; i< 6; i++){
    	if(Pump_err_Status_Avr[i] >  (Save_Num / 2)){
    		Pump_err_Status[i] = 1;
    	}
    	else{
    		Pump_err_Status[i] = 0;
    	}
    }

    if(Pump_err_Load_Num ==  Save_Num){
    	Pump_err_Load_Num = 0;
    }
    else{
    	Pump_err_Load_Num++;
    }

}

void Set_Relay_Avr(void){
  int ck_val;
  if(RY_Status[0] == 1){
    ck_val = 0;
  }
  for(int i=0 ; i< (RY_Status_Avr_Num - 1); i++){
    for(int j=0; j<8 ;j++){
      RY_Status_Avr[j][i] = RY_Status_Avr[j][i+1];
    }
  }
  for(int j=0; j<8 ;j++){
    RY_Status_Avr[j][RY_Status_Avr_Num - 1 ] = RY_Status[j];
  }

  for(int j=0; j<8 ;j++){
    ck_val = 0;
    for(int i=0 ; i< RY_Status_Avr_Num; i++){
    	ck_val += RY_Status_Avr[j][i];
    }

    if(ck_val > (RY_Status_Avr_Num/ 2)){
      RY_Status_Avr_Val[j] = 1;
    }
    else{
      RY_Status_Avr_Val[j] = 0;
    }

  }

  if(RY_Status_Avr_Val[0] == 1){
    PUMP1_ON();
  }
  else{
    PUMP1_OFF();
  }

  if(RY_Status_Avr_Val[1] == 1){
    PUMP2_ON();
  }
  else{
    PUMP2_OFF();
  }

  if(RY_Status_Avr_Val[2] == 1){
    PUMP3_ON();
  }
  else{
    PUMP3_OFF();
  }

  if(RY_Status_Avr_Val[3] == 1){
    PUMP4_ON();
  }
  else{
    PUMP4_OFF();
  }

  if(RY_Status_Avr_Val[4] == 1){
    PUMP5_ON();
  }
  else{
    PUMP5_OFF();
  }

  if(RY_Status_Avr_Val[5] == 1){
    PUMP6_ON();
  }
  else{
    PUMP6_OFF();
  }

}
void Set_Relay(void){

  if(RY_Status[0] == 1){
      PUMP1_ON();
    }
    else{
      PUMP1_OFF();
    }

    if(RY_Status[0] == 1){
      PUMP1_ON();
    }
    else{
      PUMP1_OFF();
    }

    if(RY_Status[1] == 1){
      PUMP2_ON();
    }
    else{
      PUMP2_OFF();
    }

    if(RY_Status[2] == 1){
      PUMP3_ON();
    }
    else{
      PUMP3_OFF();
    }

    if(RY_Status[3] == 1){
      PUMP4_ON();
    }
    else{
      PUMP4_OFF();
    }

    if(RY_Status[4] == 1){
      PUMP5_ON();
    }
    else{
      PUMP5_OFF();
    }

    if(RY_Status[5] == 1){
      PUMP6_ON();
    }
    else{
      PUMP6_OFF();
    }
}

int Uart2_crc = 0;
int Uart_crc = 0;

void SW_Com(void){

  // CRC 체크
  // 전송할 중계기 정보를 확인한다.

  Uart2_crc = 0;

  for(int i = 0; i <SUB_UART_buf_count_Save - 5 ; i++){
	Uart2_crc = Uart2_crc ^ SUB_UART_RX_buf[i+2];
  }

  if(Uart2_crc == SUB_UART_RX_buf[SUB_UART_buf_count_Save - 3]){
	//0x51 , 'Q' ,중계기 정보 요청 (UI에서 설정한 값만)

	  if(SUB_UART_RX_buf[3] == 0x51){    // Report request : 'Q' ,'0x51'
		  if(SUB_UART_RX_buf[4] == 0x52){        // Relay board : '0x52'
			  if(SUB_UART_RX_buf[5] == MCC_R_Address){      // MCC_R_Address[0]
				  Relay_board_Q();

			}
		  }
	  }
	  else if(SUB_UART_RX_buf[3] == 0x53){       //Setting : 'S' '0x53'
		  if(SUB_UART_RX_buf[4] == 0x52){        // Relay board : '0x52'
			  if(SUB_UART_RX_buf[5] == MCC_R_Address){      // MCC_R_Address[0]
				  Relay_board_S();
			  }
		  }
		}
	  else if(SUB_UART_RX_buf[3] == 0x56){       //Version : 'V' '0x56'
		  if(SUB_UART_RX_buf[4] == 0x52){        // Relay board : '0x52'
			  if(SUB_UART_RX_buf[5] == MCC_R_Address){      // MCC_R_Address[0]
				  SUB_Com_SW_V();
			  }
		  }
		}

  }

  SUB_UART_Receive_complete = 0;

}

void Relay_board_Q(void){

	  SUB_UART_TX_buf[0] = 0x53;    //S
	  SUB_UART_TX_buf[1] = 0x54;    //T
	  SUB_UART_TX_buf[2] = 0x52;    //R
	  SUB_UART_TX_buf[3] = 0x52;    //R
	  SUB_UART_TX_buf[4] = MCC_R_Address;    //address
	  SUB_UART_TX_buf[5] = 0x0A;    //version 10 -> 1.0
	  SUB_UART_TX_buf[6] = 0x00;    //Relay 정보 1 ~8
	  SUB_UART_TX_buf[7] = 0x00;    //Pump_ps 정보 1 ~8
	  SUB_UART_TX_buf[8] = 0x00;    //Pump_ck 정보 1 ~8
	  SUB_UART_TX_buf[9] = 0x00;    //Pump_err 정보 1 ~8
	  SUB_UART_TX_buf[10] = 0x00;   //dummy1
	  SUB_UART_TX_buf[11] = 0x00;   //dummy2
	  SUB_UART_TX_buf[12] = 0x00;   //CRC
	  SUB_UART_TX_buf[13] = 0x45;   //E
	  SUB_UART_TX_buf[14] = 0x44;   //D

	  SUB_UART_TX_buf[6] = (RY_Status[0] << 7)|(RY_Status[1] << 6)|(RY_Status[2] << 5)|
						(RY_Status[3] << 4)|(RY_Status[4] << 3)|(RY_Status[5] << 2)|(RY_Status[6] << 1);
	  SUB_UART_TX_buf[7] = (Pump_ps_Status[0] << 7)|(Pump_ps_Status[1] << 6)|(Pump_ps_Status[2] << 5)|
						(Pump_ps_Status[3] << 4)|(Pump_ps_Status[4] << 3)|(Pump_ps_Status[5] << 2);
	  SUB_UART_TX_buf[8] = (Pump_ck_Status[0] << 7)|(Pump_ck_Status[1] << 6)|(Pump_ck_Status[2] << 5)|
						(Pump_ck_Status[3] << 4)|(Pump_ck_Status[4] << 3)|(Pump_ck_Status[5] << 2);
	  SUB_UART_TX_buf[9] = (Pump_err_Status[0] << 7)|(Pump_err_Status[1] << 6)|(Pump_err_Status[2] << 5)|
						(Pump_err_Status[3] << 4)|(Pump_err_Status[4] << 3)|(Pump_err_Status[5] << 2);
	  Uart_crc = 0;

	  for(int i = 0; i <MCC_Relay_tx_buf_len - 5 ; i++){
		Uart_crc = Uart_crc ^ SUB_UART_TX_buf[i+2];
	  }
	  SUB_UART_TX_buf[MCC_Relay_tx_buf_len - 3] = Uart_crc;

	  HAL_GPIO_WritePin(RS485_DE_GPIO_Port , RS485_DE_Pin , GPIO_PIN_SET);
	  HAL_GPIO_WritePin(RS485_RE_GPIO_Port , RS485_RE_Pin , GPIO_PIN_SET);

	  HAL_Delay(1);
	  if(HAL_UART_Transmit(&hlpuart1, SUB_UART_TX_buf, MCC_Relay_tx_buf_len, 1000)!= HAL_OK)
		  {
			Error_Handler();
		  }

	  HAL_GPIO_WritePin(RS485_DE_GPIO_Port , RS485_DE_Pin , GPIO_PIN_RESET);
	  HAL_GPIO_WritePin(RS485_RE_GPIO_Port , RS485_RE_Pin , GPIO_PIN_RESET);

}

void Relay_board_S(void){
	for(int i=0;i<8;i++){
		RY_Status[i] = ( SUB_UART_RX_buf[6] >> (7 - i)) & 0x01;
	}
}

void SUB_Com_SW_V(void){

	uint8_t Uart_crc;

    SUB_UART_TX_buf[0] = 0x53;    //S
    SUB_UART_TX_buf[1] = 0x54;    //T
    SUB_UART_TX_buf[2] = 0x53;    //S
    SUB_UART_TX_buf[3] = 0x76;    //v
    SUB_UART_TX_buf[4] = 0x52;    //R
    SUB_UART_TX_buf[5] = MCC_R_Address;    //address
    SUB_UART_TX_buf[6] = F_Version_Year;
    SUB_UART_TX_buf[7] = F_Version_Month;
    SUB_UART_TX_buf[8] = F_Version_Day;
    SUB_UART_TX_buf[9] = F_Version_Hour;
    SUB_UART_TX_buf[10] = F_Version_Min;
    SUB_UART_TX_buf[11] = F_Version_Sec;
    SUB_UART_TX_buf[12] = 0x00;   //CRC
    SUB_UART_TX_buf[13] = 0x45;   //E
    SUB_UART_TX_buf[14] = 0x44;   //D

    for(int i = 0; i <Sub_MCC_V_length - 5 ; i++){
      Uart_crc = Uart_crc ^ SUB_UART_TX_buf[i+2];
    }
    SUB_UART_TX_buf[Sub_MCC_V_length-3] = Uart_crc;

	HAL_GPIO_WritePin(RS485_DE_GPIO_Port , RS485_DE_Pin , GPIO_PIN_SET);
	HAL_GPIO_WritePin(RS485_RE_GPIO_Port , RS485_RE_Pin , GPIO_PIN_SET);

	HAL_Delay(1);
	if(HAL_UART_Transmit(&hlpuart1, SUB_UART_TX_buf, Sub_MCC_V_length, 1000)!= HAL_OK)
	  {
		Error_Handler();
	  }

	HAL_GPIO_WritePin(RS485_DE_GPIO_Port , RS485_DE_Pin , GPIO_PIN_RESET);
	HAL_GPIO_WritePin(RS485_RE_GPIO_Port , RS485_RE_Pin , GPIO_PIN_RESET);

}
/* USER CODE END 4 */

void Error_Handler(void)
{
  __disable_irq();
  while (1)
  {
  }
}
